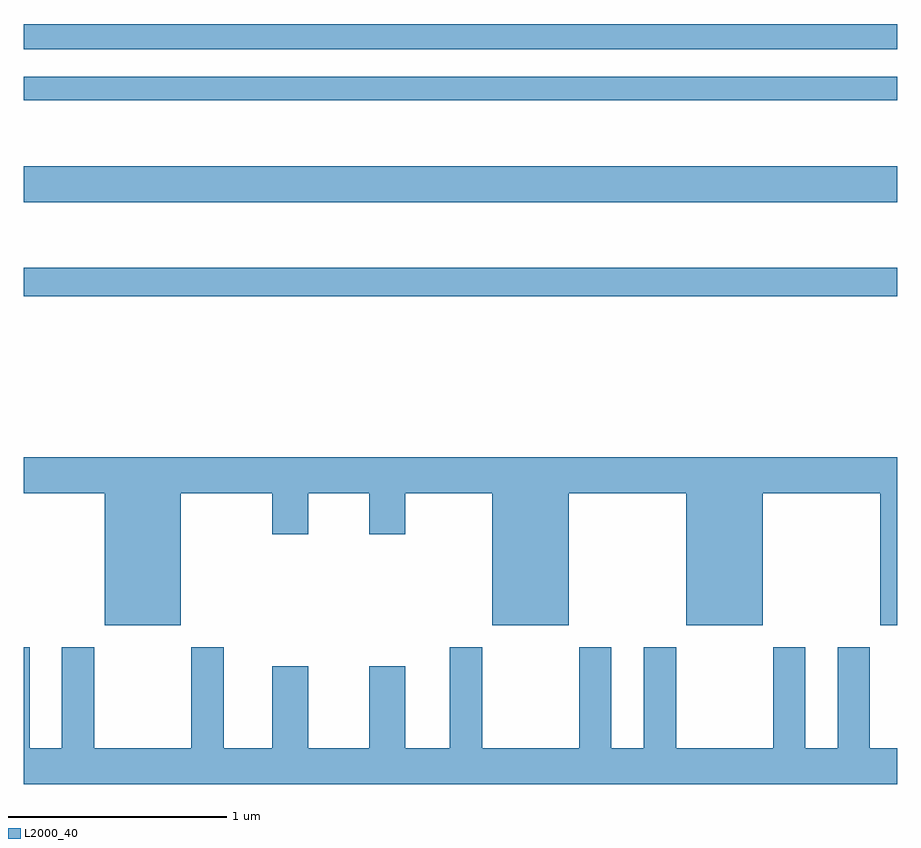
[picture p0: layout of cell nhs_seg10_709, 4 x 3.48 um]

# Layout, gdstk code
import gdstk
lib = gdstk.Library(unit=1e-6, precision=1e-09)
def R(c, l, rs):  # rectangles x0, y0, x1, y1
    for r in rs: c.add(gdstk.rectangle(r[:2], r[2:], *l))
def P(c, l, *ps):  # polygons
    for p in ps: c.add(gdstk.Polygon(p, *l))
L2000_40 = (2000, 40)

nhs_seg10_709 = lib.new_cell('nhs_seg10_709')
R(nhs_seg10_709, L2000_40, [(145,1329.19,149,1329.319), (145,1329.62,149,1329.784), (145,1330.086,149,1330.194), (145,1330.32,149,1330.436)])
P(nhs_seg10_709, L2000_40, [(145,1328.288),(145.37,1328.288),(145.37,1327.682),(145.72,1327.682),(145.72,1328.288),(146.138,1328.288),(146.138,1328.1),(146.302,1328.1),(146.302,1328.288),(146.582,1328.288),(146.582,1328.1),(146.746,1328.1),(146.746,1328.288),(147.146,1328.288),(147.146,1327.682),(147.496,1327.682),(147.496,1328.288),(148.034,1328.288),(148.034,1327.682),(148.384,1327.682),(148.384,1328.288),(148.922,1328.288),(148.922,1327.682),(149,1327.682),(149,1328.452),(145,1328.452)],
  [(149,1327.12),(148.875,1327.12),(148.875,1327.582),(148.727,1327.582),(148.727,1327.12),(148.579,1327.12),(148.579,1327.582),(148.432,1327.582),(148.432,1327.12),(147.987,1327.12),(147.987,1327.582),(147.839,1327.582),(147.839,1327.12),(147.691,1327.12),(147.691,1327.582),(147.544,1327.582),(147.544,1327.12),(147.099,1327.12),(147.099,1327.582),(146.951,1327.582),(146.951,1327.12),(146.746,1327.12),(146.746,1327.495),(146.582,1327.495),(146.582,1327.12),(146.302,1327.12),(146.302,1327.495),(146.138,1327.495),(146.138,1327.12),(145.915,1327.12),(145.915,1327.582),(145.768,1327.582),(145.768,1327.12),(145.323,1327.12),(145.323,1327.582),(145.175,1327.582),(145.175,1327.12),(145.027,1327.12),(145.027,1327.582),(145,1327.582),(145,1326.956),(149,1326.956)])

lib.write_gds('nhs_seg10_709.gds')
